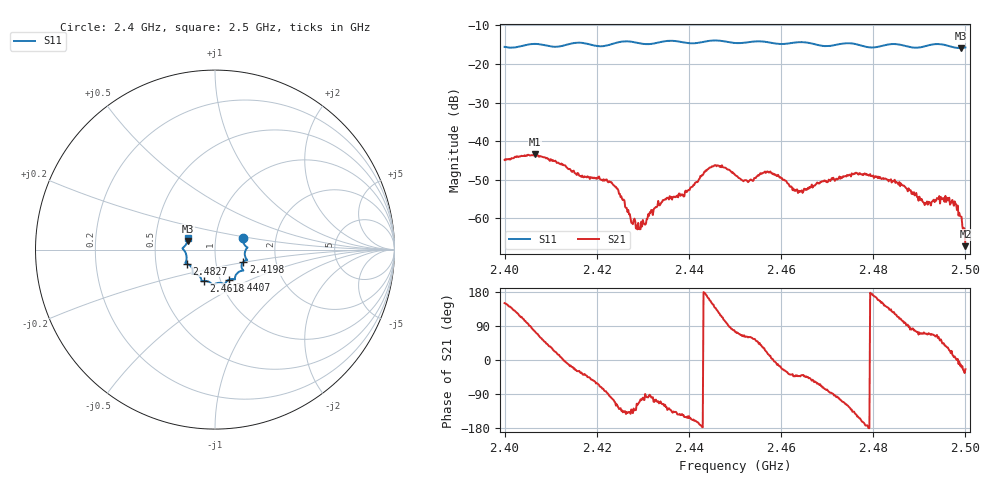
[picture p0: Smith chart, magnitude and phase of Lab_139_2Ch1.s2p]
# Hz S RI R 50
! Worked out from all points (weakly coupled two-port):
!   601 points, 2.4 GHz to 2.5 GHz, reference 50 ohm
!   highest |S21| = -43.46 dB at 2.4065 GHz (marker M1); lowest = -67.2 dB at 2.5 GHz (marker M2)
!   lowest |S11| = -15.9 dB at 2.499 GHz (marker M3), VSWR 1.38, Z = 36.6 + j3.61 ohm
!   |S11| at or under -10 dB: start of sweep to end of sweep
!   S12 and S22 are empty: the file has one direction only
!   S11 on the Smith chart (normalised r, x): 2.4 GHz: 1.35, +0.17; 2.4198 GHz: 1.36, -0.19; 2.4407 GHz: 1.10, -0.38; 2.4618 GHz: 0.83, -0.30; 2.4827 GHz: 0.72, -0.12; 2.5 GHz: 0.73, +0.09
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2.4e9  0.1547 0.0619  -0.00494 0.00285  0 0  0 0
2.4065e9  0.1818 0.0122  0.00161 0.00652  0 0  0 0
2.416667e9  0.1787 -0.0587  0.00287 -0.00188  0 0  0 0
2.419833e9  0.1577 -0.0678  0.00156 -0.00292  0 0  0 0
2.424167e9  0.1525 -0.1095  -0.00129 -0.0022  0 0  0 0
2.429e9  0.1444 -0.1189  -0.000371 -0.000786  0 0  0 0
2.433333e9  0.1117 -0.153  -0.000536 -0.00159  0 0  0 0
2.440667e9  0.0791 -0.1674  -0.00236 -0.000985  0 0  0 0
2.445333e9  0.0535 -0.1943  -0.0039 0.00263  0 0  0 0
2.45e9  0.027 -0.1851  0.000974 0.00351  0 0  0 0
2.453333e9  -0.0039 -0.1929  0.00154 0.00276  0 0  0 0
2.457333e9  -0.0192 -0.1897  0.00379 0.000948  0 0  0 0
2.461833e9  -0.0614 -0.1751  0.00207 -0.00159  0 0  0 0
2.464167e9  -0.074 -0.177  0.00165 -0.00154  0 0  0 0
2.466667e9  -0.0759 -0.1681  0.00158 -0.00223  0 0  0 0
2.475833e9  -0.1259 -0.1327  -0.00274 -0.00262  0 0  0 0
2.482667e9  -0.1582 -0.0777  -0.00258 0.00201  0 0  0 0
2.483333e9  -0.162 -0.0765  -0.00221 0.00204  0 0  0 0
2.491333e9  -0.1703 -0.00614  0.00055 0.00147  0 0  0 0
2.4975e9  -0.1619 0.0278  0.00144 0.000192  0 0  0 0
2.499e9  -0.1531 0.048  0.00103 -0.000217  0 0  0 0
2.5e9  -0.1514 0.0631  0.000395 -0.000179  0 0  0 0
